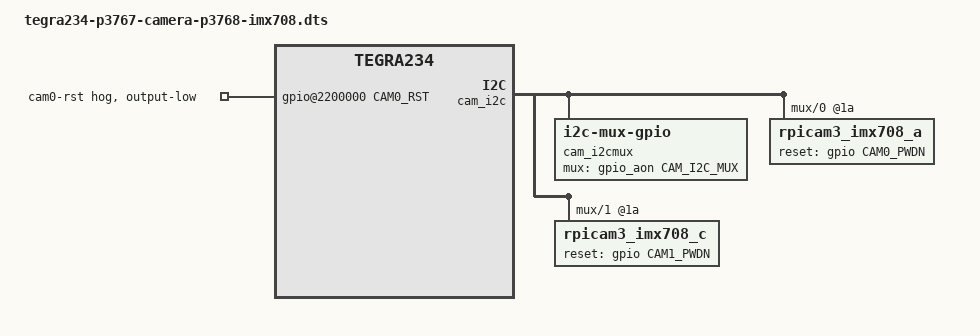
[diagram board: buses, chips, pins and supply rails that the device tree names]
/dts-v1/;
/plugin/;

#include <dt-bindings/tegra234-p3767-0000-common.h>
#include "tegra234-camera-imx708.dtsi"

#define CAM0_RST        TEGRA234_MAIN_GPIO(H, 3)
#define CAM0_PWDN	TEGRA234_MAIN_GPIO(H, 6)
#define CAM1_PWDN	TEGRA234_MAIN_GPIO(AC, 0)
#define CAM_I2C_MUX 	TEGRA234_AON_GPIO(CC, 3)

/ {
	overlay-name = "Camera IMX708";

	fragment-camera-imx708@0 {
		target-path = "/";
		__overlay__ {
			bus@0 {
				cam_i2cmux {
					status = "okay";
					compatible = "i2c-mux-gpio";
					#address-cells = <1>;
					#size-cells = <0>;
					mux-gpios = <&gpio_aon CAM_I2C_MUX GPIO_ACTIVE_HIGH>;
					i2c-parent = <&cam_i2c>;
					i2c@0 {
						reg = <0>;
						#address-cells = <1>;
						#size-cells = <0>;
						rpicam3_imx708_a@1a {
							reset-gpios = <&gpio CAM0_PWDN GPIO_ACTIVE_HIGH>;
						};
					};
					i2c@1 {
						status = "okay";
						reg = <1>;
						#address-cells = <1>;
						#size-cells = <0>;
						rpicam3_imx708_c@1a {
							reset-gpios = <&gpio CAM1_PWDN GPIO_ACTIVE_HIGH>;
						};
					};
				};

				gpio@2200000 {
					camera-control-output-low {
						gpio-hog;
						output-low;
						gpios = <CAM0_RST 0>;
						label = "cam0-rst";
					};
				};
			};
		};
	};
};
